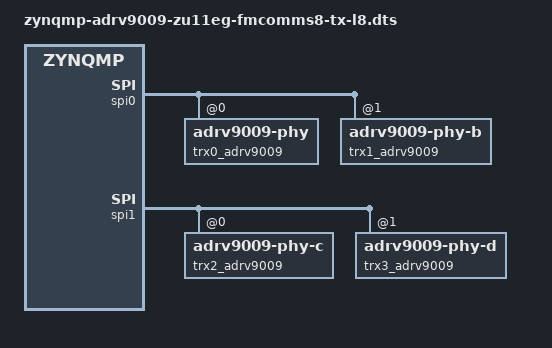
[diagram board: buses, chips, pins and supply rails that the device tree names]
// SPDX-License-Identifier: GPL-2.0
/*
 * Analog Devices ADRV2CRR-FMC using ADRV9009-ZU11EG System on Module + AD-FMCOMMS8-EBZ
 * https://wiki.analog.com/resources/eval/user-guides/adrv9009-zu11eg/adrv2crr-fmc_carrier_board
 * https://wiki.analog.com/resources/eval/user-guides/ad-fmcomms8-ebz
 * https://wiki.analog.com/resources/tools-software/linux-drivers/iio-transceiver/adrv9009
 * https://wiki.analog.com/resources/tools-software/linux-software/adrv9009_advanced_plugin
 *
 * hdl_project: <adrv9009zu11eg/adrv2crr_fmcomms8>
 * board_revision: <>
 *
 * Copyright (C) 2022 Analog Devices Inc.
 */

#include "zynqmp-adrv9009-zu11eg-revb-adrv2crr-fmc-revb-sync-fmcomms8-jesd204-fsm.dts"

&spi0 {
	trx0_adrv9009: adrv9009-phy@0 {
		/* JESD204 */

		/* JESD204 OBS */
		adi,jesd204-framer-b-m = <4>;

		/* JESD204 TX */
		adi,jesd204-deframer-a-deserializer-lanes-enabled = <0x03>;
	};
	trx1_adrv9009: adrv9009-phy-b@1 {
		/* JESD204 */

		/* JESD204 OBS */
		adi,jesd204-framer-b-m = <4>;

		/* JESD204 TX */
		adi,jesd204-deframer-a-deserializer-lanes-enabled = <0x03>;
	};
};

&spi1 {
	trx2_adrv9009: adrv9009-phy-c@0 {
		/* JESD204 */

		/* JESD204 OBS */
		adi,jesd204-framer-b-m = <4>;

		/* JESD204 TX */
		adi,jesd204-deframer-a-deserializer-lanes-enabled = <0x03>;
	};
	trx3_adrv9009: adrv9009-phy-d@1 {
		/* JESD204 */

		/* JESD204 OBS */
		adi,jesd204-framer-b-m = <4>;

		/* JESD204 TX */
		adi,jesd204-deframer-a-deserializer-lanes-enabled = <0x03>;
	};
};

